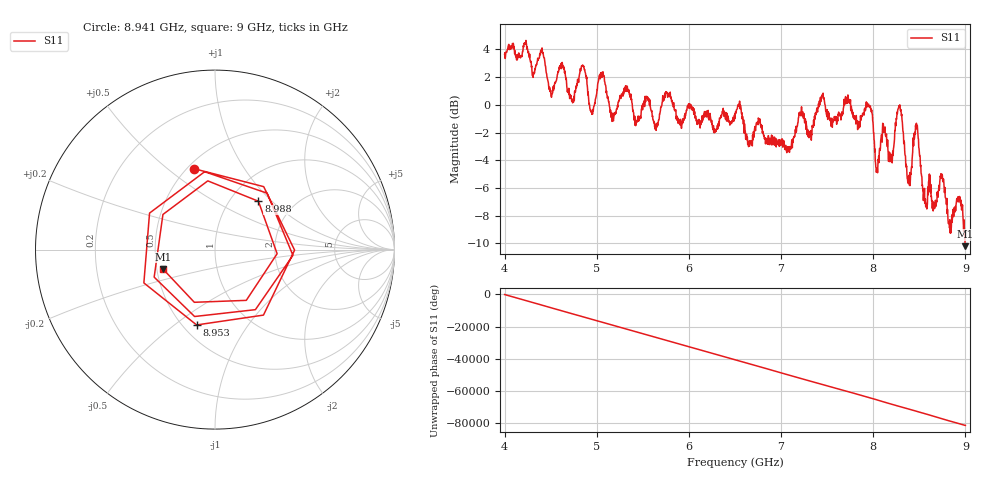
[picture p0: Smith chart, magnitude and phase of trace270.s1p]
! Created with skrf 1.8.0 (http://scikit-rf.org).
# Hz S RI R 50.0
!freq ReS11 ImS11
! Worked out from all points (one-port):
!   1601 points, 4 GHz to 9 GHz, reference 50 ohm
!   lowest |S11| = -10.2 dB at 9 GHz (marker M1), VSWR 1.90, Z = 27 - j6.49 ohm
!   |S11| at or under -10 dB: 8.996847 GHz to end of sweep
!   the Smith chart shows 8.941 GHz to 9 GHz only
!   S11 on the Smith chart (normalised r, x): 8.941 GHz: 0.54, +0.62; 8.953 GHz: 0.58, -0.60; 8.988 GHz: 1.34, +0.83; 9 GHz: 0.54, -0.13
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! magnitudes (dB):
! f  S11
! 4 GHz  3.6
! 4.406 GHz  4.1
! 4.506 GHz  0.6
! 4.625 GHz  3.1
! 4.731 GHz  0.3
! 4.853 GHz  2.8
! 4.941 GHz  -0.5
! 5.05 GHz  2.2
! 5.162 GHz  -0.8
! 5.25 GHz  0.5
! 5.875 GHz  -1.1
! 6.5 GHz  -0.6
! 7.125 GHz  -2.5
! 7.441 GHz  0.6
! 7.75 GHz  0.1
! 7.966 GHz  -0.2
! 8.041 GHz  -4.6
! 8.109 GHz  -1.4
! 8.197 GHz  -4.0
! 8.288 GHz  0.0
! 8.375 GHz  -5.6
! 8.466 GHz  -1.4
! 8.562 GHz  -7.0
! 8.834 GHz  -9.2
! 8.941 GHz  -6.6
! 8.953 GHz  -7.3
! 8.988 GHz  -8.8
! 9 GHz  -10.2
